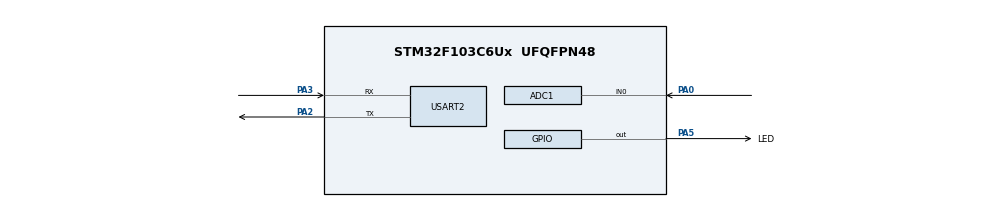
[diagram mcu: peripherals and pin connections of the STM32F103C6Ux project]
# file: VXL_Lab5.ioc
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ADC1.Channel-0\#ChannelRegularConversion=ADC_CHANNEL_0
ADC1.ContinuousConvMode=ENABLE
ADC1.NbrOfConversionFlag=1
ADC1.Rank-0\#ChannelRegularConversion=1
ADC1.SamplingTime-0\#ChannelRegularConversion=ADC_SAMPLETIME_1CYCLE_5
ADC1.master=1
Mcu.Family=STM32F1
Mcu.Name=STM32F103C6Ux
Mcu.Package=UFQFPN48
NVIC.PriorityGroup=NVIC_PRIORITYGROUP_4
NVIC.TIM2_IRQn=true\:0\:0\:false\:false\:true\:true\:true\:true
NVIC.USART2_IRQn=true\:0\:0\:false\:false\:true\:true\:true\:true
PA0-WKUP.Signal=ADCx_IN0
PA2.Mode=Asynchronous
PA2.Signal=USART2_TX
PA3.Mode=Asynchronous
PA3.Signal=USART2_RX
PA5.GPIO_Label=LED
PA5.Signal=GPIO_Output
ProjectManager.HeapSize=0x200
ProjectManager.StackSize=0x400
ProjectManager.TargetToolchain=STM32CubeIDE
RCC.APB1Freq_Value=8000000
RCC.APB2Freq_Value=8000000
SH.ADCx_IN0.0=ADC1_IN0,IN0
TIM2.Period=9
TIM2.Prescaler=7999
USART2.VirtualMode=VM_ASYNC
VP_SYS_VS_ND.Mode=No_Debug
VP_TIM2_VS_ClockSourceINT.Mode=Internal
board=custom

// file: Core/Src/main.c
/* USER CODE BEGIN Header */
/**
  ******************************************************************************
  * @file           : main.c
  * @brief          : Main program body
  ******************************************************************************
  * @attention
  *
  * Copyright (c) 2024 STMicroelectronics.
  * All rights reserved.
  *
  * This software is licensed under terms that can be found in the LICENSE file
  * in the root directory of this software component.
  * If no LICENSE file comes with this software, it is provided AS-IS.
  *
  ******************************************************************************
  */
/* USER CODE END Header */
#include "main.h"

/* USER CODE BEGIN Includes */
#include "global.h"
#include "uart.h"
#include "timer.h"
/* USER CODE END Includes */

ADC_HandleTypeDef hadc1;

TIM_HandleTypeDef htim2;

UART_HandleTypeDef huart2;

uint8_t init_temp = 0;

void SystemClock_Config(void);
static void MX_GPIO_Init(void);
static void MX_ADC1_Init(void);
static void MX_USART2_UART_Init(void);
static void MX_TIM2_Init(void);

/* USER CODE BEGIN 0 */
void HAL_UART_RxCpltCallback(UART_HandleTypeDef *huart) {
	if (huart->Instance == USART2) {
		buffer[index_buffer++] = temp;
		if (index_buffer == MAX_BUFFER_SIZE)
			index_buffer = 5;
		buffer_flag = 1;
		HAL_UART_Receive_IT(&huart2, &temp, 1);
		HAL_UART_Transmit(&huart2, &temp, 1, 200);
	}
}
/* USER CODE END 0 */

int main(void)
{

  /* MCU Configuration--------------------------------------------------------*/

  /* Reset of all peripherals, Initializes the Flash interface and the Systick. */
  HAL_Init();

  /* Configure the system clock */
  SystemClock_Config();

  /* Initialize all configured peripherals */
  MX_GPIO_Init();
  MX_ADC1_Init();
  MX_USART2_UART_Init();
  MX_TIM2_Init();
  /* USER CODE BEGIN 2 */
	HAL_TIM_Base_Start_IT(&htim2);
	HAL_UART_Receive_IT(&huart2, &init_temp, 1);
	setTimer1(100);
	setTimer2(100);
  /* USER CODE END 2 */

  /* Infinite loop */
  /* USER CODE BEGIN WHILE */
  while (1)
  {
	  if(buffer_flag == 1){
		  command_parser_fsm();
		  buffer_flag = 0;
	  }
	  uart_communication_fsm();
    /* USER CODE END WHILE */

  }
}

void SystemClock_Config(void)
{
  RCC_OscInitTypeDef RCC_OscInitStruct = {0};
  RCC_ClkInitTypeDef RCC_ClkInitStruct = {0};
  RCC_PeriphCLKInitTypeDef PeriphClkInit = {0};

  /** Initializes the RCC Oscillators according to the specified parameters
  * in the RCC_OscInitTypeDef structure.
  */
  RCC_OscInitStruct.OscillatorType = RCC_OSCILLATORTYPE_HSI;
  RCC_OscInitStruct.HSIState = RCC_HSI_ON;
  RCC_OscInitStruct.HSICalibrationValue = RCC_HSICALIBRATION_DEFAULT;
  RCC_OscInitStruct.PLL.PLLState = RCC_PLL_NONE;
  if (HAL_RCC_OscConfig(&RCC_OscInitStruct) != HAL_OK)
  {
    Error_Handler();
  }

  /** Initializes the CPU, AHB and APB buses clocks
  */
  RCC_ClkInitStruct.ClockType = RCC_CLOCKTYPE_HCLK|RCC_CLOCKTYPE_SYSCLK
                              |RCC_CLOCKTYPE_PCLK1|RCC_CLOCKTYPE_PCLK2;
  RCC_ClkInitStruct.SYSCLKSource = RCC_SYSCLKSOURCE_HSI;
  RCC_ClkInitStruct.AHBCLKDivider = RCC_SYSCLK_DIV1;
  RCC_ClkInitStruct.APB1CLKDivider = RCC_HCLK_DIV1;
  RCC_ClkInitStruct.APB2CLKDivider = RCC_HCLK_DIV1;

  if (HAL_RCC_ClockConfig(&RCC_ClkInitStruct, FLASH_LATENCY_0) != HAL_OK)
  {
    Error_Handler();
  }
  PeriphClkInit.PeriphClockSelection = RCC_PERIPHCLK_ADC;
  PeriphClkInit.AdcClockSelection = RCC_ADCPCLK2_DIV2;
  if (HAL_RCCEx_PeriphCLKConfig(&PeriphClkInit) != HAL_OK)
  {
    Error_Handler();
  }
}

static void MX_ADC1_Init(void)
{

  ADC_ChannelConfTypeDef sConfig = {0};

  /** Common config
  */
  hadc1.Instance = ADC1;
  hadc1.Init.ScanConvMode = ADC_SCAN_DISABLE;
  hadc1.Init.ContinuousConvMode = ENABLE;
  hadc1.Init.DiscontinuousConvMode = DISABLE;
  hadc1.Init.ExternalTrigConv = ADC_SOFTWARE_START;
  hadc1.Init.DataAlign = ADC_DATAALIGN_RIGHT;
  hadc1.Init.NbrOfConversion = 1;
  if (HAL_ADC_Init(&hadc1) != HAL_OK)
  {
    Error_Handler();
  }

  /** Configure Regular Channel
  */
  sConfig.Channel = ADC_CHANNEL_0;
  sConfig.Rank = ADC_REGULAR_RANK_1;
  sConfig.SamplingTime = ADC_SAMPLETIME_1CYCLE_5;
  if (HAL_ADC_ConfigChannel(&hadc1, &sConfig) != HAL_OK)
  {
    Error_Handler();
  }

}

static void MX_TIM2_Init(void)
{

  TIM_ClockConfigTypeDef sClockSourceConfig = {0};
  TIM_MasterConfigTypeDef sMasterConfig = {0};

  htim2.Instance = TIM2;
  htim2.Init.Prescaler = 7999;
  htim2.Init.CounterMode = TIM_COUNTERMODE_UP;
  htim2.Init.Period = 9;
  htim2.Init.ClockDivision = TIM_CLOCKDIVISION_DIV1;
  htim2.Init.AutoReloadPreload = TIM_AUTORELOAD_PRELOAD_DISABLE;
  if (HAL_TIM_Base_Init(&htim2) != HAL_OK)
  {
    Error_Handler();
  }
  sClockSourceConfig.ClockSource = TIM_CLOCKSOURCE_INTERNAL;
  if (HAL_TIM_ConfigClockSource(&htim2, &sClockSourceConfig) != HAL_OK)
  {
    Error_Handler();
  }
  sMasterConfig.MasterOutputTrigger = TIM_TRGO_RESET;
  sMasterConfig.MasterSlaveMode = TIM_MASTERSLAVEMODE_DISABLE;
  if (HAL_TIMEx_MasterConfigSynchronization(&htim2, &sMasterConfig) != HAL_OK)
  {
    Error_Handler();
  }

}

static void MX_USART2_UART_Init(void)
{

  huart2.Instance = USART2;
  huart2.Init.BaudRate = 9600;
  huart2.Init.WordLength = UART_WORDLENGTH_8B;
  huart2.Init.StopBits = UART_STOPBITS_1;
  huart2.Init.Parity = UART_PARITY_NONE;
  huart2.Init.Mode = UART_MODE_TX_RX;
  huart2.Init.HwFlowCtl = UART_HWCONTROL_NONE;
  huart2.Init.OverSampling = UART_OVERSAMPLING_16;
  if (HAL_UART_Init(&huart2) != HAL_OK)
  {
    Error_Handler();
  }

}

static void MX_GPIO_Init(void)
{
  GPIO_InitTypeDef GPIO_InitStruct = {0};

  /* GPIO Ports Clock Enable */
  __HAL_RCC_GPIOA_CLK_ENABLE();

  /*Configure GPIO pin Output Level */
  HAL_GPIO_WritePin(LED_GPIO_Port, LED_Pin, GPIO_PIN_RESET);

  /*Configure GPIO pin : LED_Pin */
  GPIO_InitStruct.Pin = LED_Pin;
  GPIO_InitStruct.Mode = GPIO_MODE_OUTPUT_PP;
  GPIO_InitStruct.Pull = GPIO_NOPULL;
  GPIO_InitStruct.Speed = GPIO_SPEED_FREQ_LOW;
  HAL_GPIO_Init(LED_GPIO_Port, &GPIO_InitStruct);

}

/* USER CODE BEGIN 4 */

void HAL_TIM_PeriodElapsedCallback (TIM_HandleTypeDef *htim)
{
	timerRun();
}
/* USER CODE END 4 */

void Error_Handler(void)
{
  __disable_irq();
  while (1)
  {
  }
}
